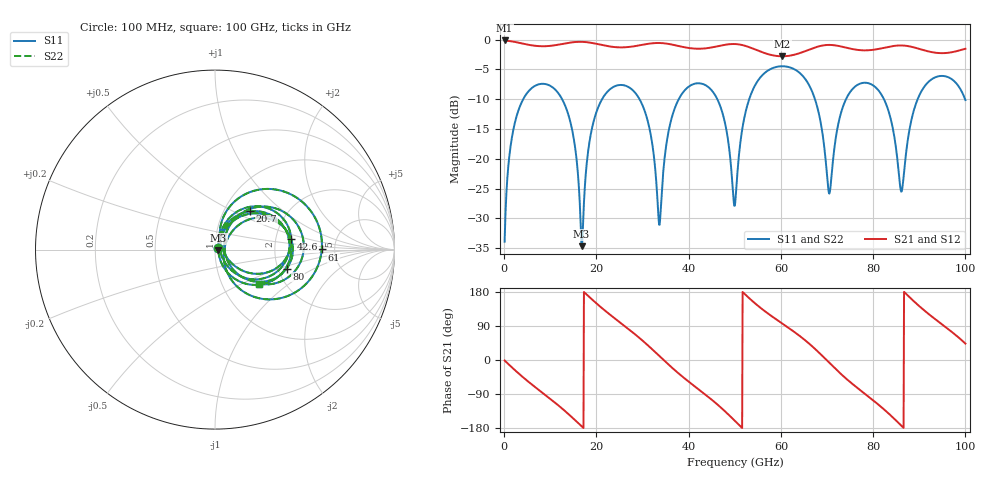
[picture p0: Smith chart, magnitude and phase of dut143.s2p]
! Touchstone file exported from HFSS 2026.1.0
!  File:  C:/ffzhzh/LocalFiles/Ansys_Project_Files/temp_train_TSV_RDL_143_1783643259_33328.aedt
!  Generated:  08:43:21 AM Jul 10, 2026
!  Design:  TSV_RDL
!  Project:  temp_train_TSV_RDL_143_1783643259_33328
! Variables:
!  h_bsmrdl = 4.62um
!  h_ox = 20um
!  h_rdl = 5um
!  h_sub = 59.24um
!  h_tmrdl = 2.35um
!  h_tsv = 59.24um
!  h_via = 3um
!  l_bsmrdl = 332.11um
!  l_sub = 3657.63um
!  l_tmrdl = 527.78um
!  m_sub = 200um
!  pitch = 43.67um
!  r_tsv = 8.03um
!  s_tmrdl = 10um
!  w_bsmrdl = 24.29um
!  w_sub = 500um
!  w_tmrdl = 25.77um
!  x_tsv_center1 = 540.665um
!  x_tsv_center2 = 897.065um
!  x_tsv_center3 = 1450.615um
!  x_tsv_center4 = 1807.015um
!  x_tsv_center5 = 2360.565um
!  x_tsv_center6 = 2716.965um
# GHz S MA R 50.000000
! Terminal data exported
! Port[1] = TM_RDL1_1_T1
! Port[2] = TM_RDL5_1_T1
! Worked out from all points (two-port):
!   1000 points, 100 MHz to 100 GHz, reference 50 ohm
!   highest |S21| = -0.15 dB at 100 MHz (marker M1); lowest = -2.8 dB at 60.3 GHz (marker M2)
!   |S21| within 3 dB of the highest: start of sweep to end of sweep
!   lowest |S11| = -34.7 dB at 16.8 GHz (marker M3), VSWR 1.04, Z = 51.9 - j0.305 ohm
!   |S11| at or under -10 dB: 12.56 GHz to 21.23 GHz (8.67 GHz wide, 51.3 % of centre); 29.34 GHz to 37.86 GHz (8.513 GHz wide, 25.3 % of centre); 82.34 GHz to 89.65 GHz (7.317 GHz wide, 8.51 % of centre) (the widest 3 of 7)
!   |S22| runs from -34.8 to -4.5 dB; largest |S21 - S12| = 2e-13
!   S11 on the Smith chart (normalised r, x): 100 MHz: 1.04, +0.02; 20.7 GHz: 1.32, +0.61; 42.6 GHz: 2.44, +0.34; 61 GHz: 3.94, +0.01; 80 GHz: 2.22, -0.57; 100 GHz: 1.49, -0.63
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0.1  0.02014 30.1  0.9827 -1.2  0.9827 -1.2  0.02014 30.1
! Gamma 0 0 0 0
! Port Impedance 50 0 50 0
2.6  0.2205 53.9  0.9507 -29.7  0.9507 -29.7  0.2206 53.9
8.3  0.4255 1.3  0.8789 -86.5  0.8789 -86.5  0.4255 1.2
14.1  0.2217 -52.7  0.9399 -144.4  0.9399 -144.4  0.2217 -52.7
16.8  0.01847 -9.2  0.957 -174.8  0.957 -174.8  0.01824 -9.3
20.7  0.2881 47.6  0.9087 142.1  0.9087 142.1  0.2881 47.7
29.3  0.3185 -29.9  0.8938 58.5  0.8938 58.5  0.3185 -29.9
33.4  0.03521 -26.7  0.936 13.5  0.936 13.5  0.03485 -27.4
36.9  0.2594 57.8  0.899 -25.8  0.899 -25.8  0.2592 58.0
42.6  0.4283 7.7  0.838 -81.6  0.838 -81.6  0.4283 7.7
50.1  0.04297 38.0  0.9169 -161.4  0.9169 -161.4  0.04317 38.0
53.4  0.3386 62.9  0.8558 160.1  0.8558 160.1  0.3387 62.8
60.3  0.5971 5.5  0.7239 96.2  0.7239 96.2  0.5971 5.5
61  0.5948 0.1  0.7256 90.4  0.7256 90.4  0.5948 0.1
66.7  0.3719 -47.1  0.8393 37.1  0.8393 37.1  0.3719 -47.1
70.5  0.051 -6.0  0.9017 -7.4  0.9017 -7.4  0.05121 -6.1
74  0.3089 35.3  0.8575 -47.6  0.8575 -47.6  0.3089 35.2
80  0.4124 -15.0  0.8201 -106.4  0.8201 -106.4  0.4124 -15.1
83.4  0.2466 -42.6  0.8695 -141.7  0.8695 -141.7  0.2466 -42.9
86.1  0.0529 3.1  0.8922 -173.1  0.8922 -173.1  0.05161 2.8
91.2  0.4074 34.4  0.8099 129.6  0.8099 129.6  0.407 34.5
100  0.3104 -37.6  0.8375 43.3  0.8375 43.3  0.31 -37.8
